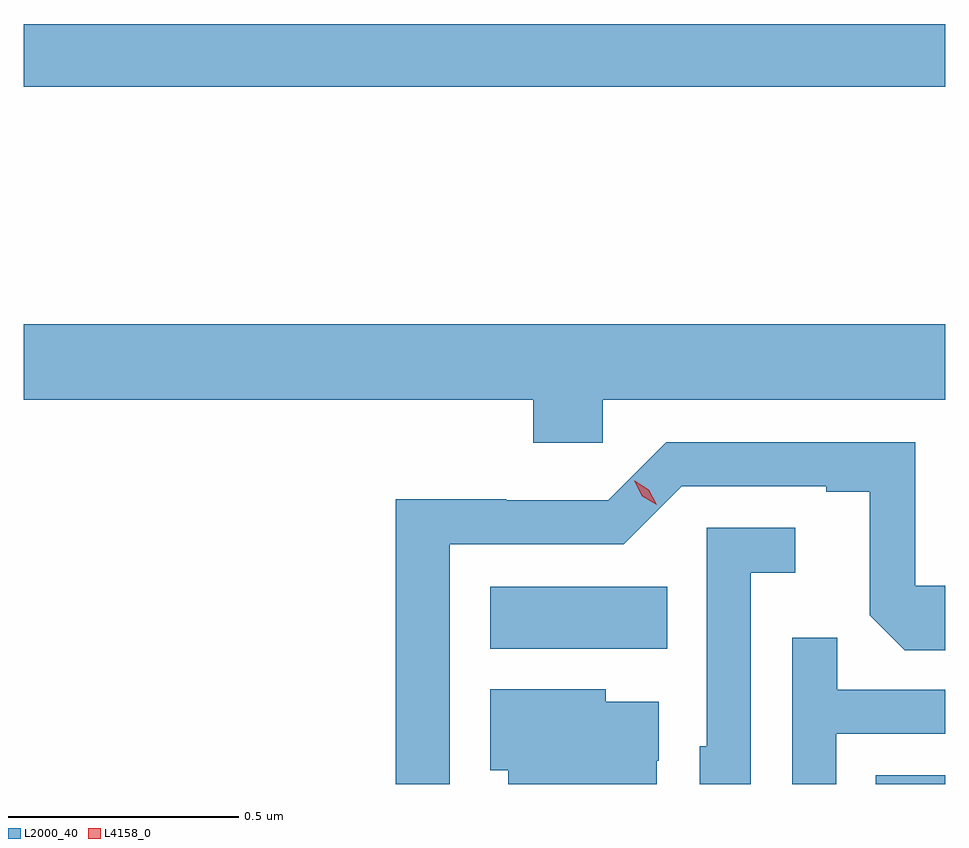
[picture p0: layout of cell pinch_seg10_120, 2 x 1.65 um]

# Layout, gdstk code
import gdstk
lib = gdstk.Library(unit=1e-6, precision=1e-09)
def R(c, l, rs):  # rectangles x0, y0, x1, y1
    for r in rs: c.add(gdstk.rectangle(r[:2], r[2:], *l))
def P(c, l, *ps):  # polygons
    for p in ps: c.add(gdstk.Polygon(p, *l))
L2000_40 = (2000, 40)
L4158_0 = (4158, 0)

pinch_seg10_120 = lib.new_cell('pinch_seg10_120')
R(pinch_seg10_120, L2000_40, [(646.588,1308.806,646.739,1308.825), (645.752,1309.1,646.136,1309.234), (644.739,1310.32,646.739,1310.456)])
P(pinch_seg10_120, L2000_40, [(644.739,1309.64),(645.845,1309.64),(645.845,1309.547),(645.996,1309.547),(645.996,1309.64),(646.739,1309.64),(646.739,1309.804),(644.739,1309.804)],
  [(645.664,1309.326),(646.041,1309.326),(646.167,1309.452),(646.481,1309.452),(646.481,1309.44),(646.575,1309.44),(646.575,1309.172),(646.651,1309.096),(646.739,1309.096),(646.739,1309.236),(646.674,1309.236),(646.674,1309.548),(646.134,1309.548),(646.008,1309.422),(645.786,1309.422),(645.786,1309.424),(645.546,1309.424),(645.546,1308.806),(645.664,1308.806)],
  [(646.317,1309.265),(646.414,1309.265),(646.414,1309.362),(646.221,1309.362),(646.221,1308.888),(646.206,1308.888),(646.206,1308.806),(646.317,1308.806)],
  [(646.503,1308.915),(646.739,1308.915),(646.739,1309.011),(646.505,1309.011),(646.505,1309.124),(646.407,1309.124),(646.407,1308.806),(646.503,1308.806)],
  [(646.113,1308.856),(646.117,1308.856),(646.117,1308.985),(646.002,1308.985),(646.002,1309.012),(645.752,1309.012),(645.752,1308.836),(645.791,1308.836),(645.791,1308.806),(646.113,1308.806)])
P(pinch_seg10_120, L4158_0, [(646.113,1309.412),(646.081,1309.431),(646.064,1309.464),(646.064,1309.464),(646.065,1309.464),(646.096,1309.445),(646.113,1309.412),(646.113,1309.412)])

lib.write_gds('pinch_seg10_120.gds')
